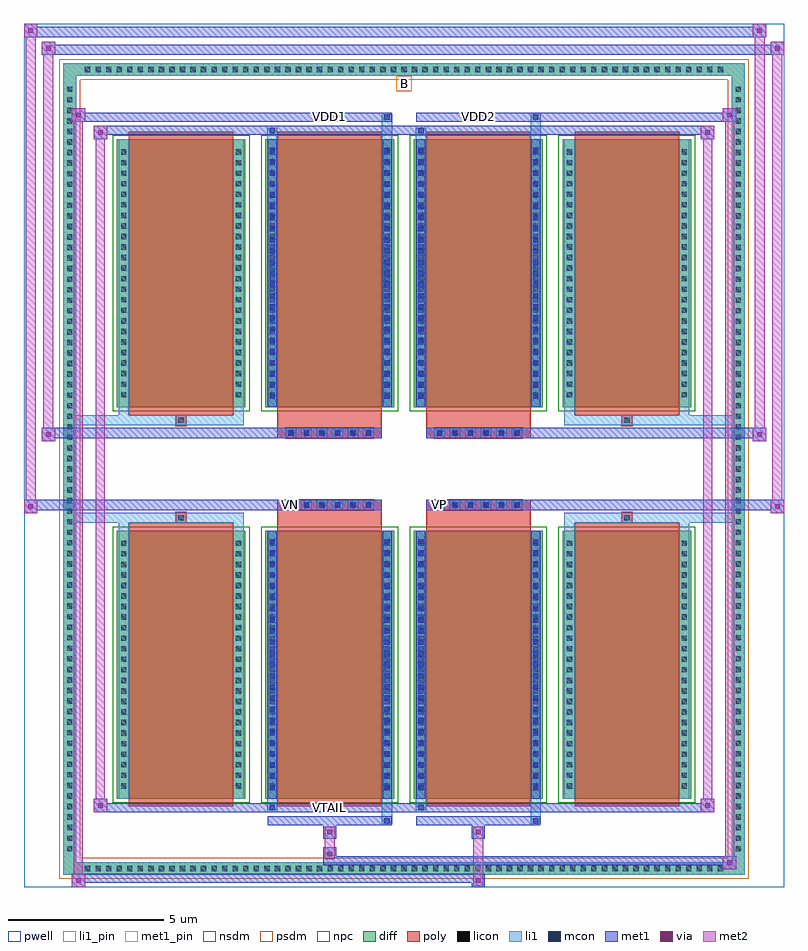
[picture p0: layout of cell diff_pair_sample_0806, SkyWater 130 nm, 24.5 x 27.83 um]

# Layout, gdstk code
import gdstk
lib = gdstk.Library(unit=1e-6, precision=5e-09)
def R(c, l, rs):  # rectangles x0, y0, x1, y1
    for r in rs: c.add(gdstk.rectangle(r[:2], r[2:], *l))
def A(c, l, x, y, w, h, nx, ny, dx, dy):  # array of equal rectangles
    R(c, l, [(x+i*dx, y+j*dy, x+i*dx+w, y+j*dy+h) for i in range(nx) for j in range(ny)])
def P(c, l, *ps):  # polygons
    for p in ps: c.add(gdstk.Polygon(p, *l))
pwell = (64, 44)
diff = (65, 20)
poly = (66, 20)
licon = (66, 44)
li1_pin = (67, 16)
li1 = (67, 20)
mcon = (67, 44)
met1_pin = (68, 16)
met1 = (68, 20)
via = (68, 44)
met2 = (69, 20)
nsdm = (93, 44)
psdm = (94, 20)
npc = (95, 20)

diff_pair_sample_0806 = lib.new_cell('diff_pair_sample_0806')
R(diff_pair_sample_0806, pwell, [(-12.25,-13.48,12.25,14.35), (-9.57,-11.67,-0.01,-0.795), (0.01,-11.67,9.57,-0.795), (-9.57,0.795,-0.01,11.67), (0.01,0.795,9.57,11.67)])
A(diff_pair_sample_0806, diff, -10.405, -13.08, 0.41, 0.41, 61, 2, 0.34, 25.75)
A(diff_pair_sample_0806, diff, -10.98, -12.445, 0.41, 0.41, 1, 73, 0, 0.34)
A(diff_pair_sample_0806, diff, 10.57, -12.445, 0.41, 0.41, 1, 73, 0, 0.34)
A(diff_pair_sample_0806, diff, -9.26, -10.625, 4.15, 8.64, 4, 2, 4.79, 12.61)
R(diff_pair_sample_0806, diff, [(-10.405,-13.08,10.405,-12.67), (-10.98,-12.445,-10.57,12.445), (10.57,-12.445,10.98,12.445), (-10.405,12.67,10.405,13.08)])
P(diff_pair_sample_0806, diff, [(10.98,13.08),(-10.98,13.08),(-10.98,-12.67),(-10.57,-12.67),(-10.57,12.67),(10.57,12.67),(10.57,-12.67),(-10.57,-12.67),(-10.98,-12.67),(-10.98,-13.08),(10.98,-13.08)])
A(diff_pair_sample_0806, poly, -8.87, -10.875, 3.37, 9.14, 4, 2, 4.79, 12.61)
A(diff_pair_sample_0806, poly, -3.81, -1.325, 0.33, 0.33, 6, 2, 0.5, 2.32)
A(diff_pair_sample_0806, poly, 0.98, -1.325, 0.33, 0.33, 6, 2, 0.5, 2.32)
R(diff_pair_sample_0806, poly, [(-7.35,-1.735,-7.02,-1.405), (-7.35,-1.735,-7.02,-1.405), (-4.08,-1.735,-0.71,-1.325), (0.71,-1.735,4.08,-1.325), (7.02,-1.735,7.35,-1.405), (7.02,-1.735,7.35,-1.405), (-4.08,-1.325,-0.71,-0.995), (0.71,-1.325,4.08,-0.995), (-4.08,0.995,-0.71,1.325), (0.71,0.995,4.08,1.325), (-4.08,1.325,-0.71,1.735), (0.71,1.325,4.08,1.735), (-7.35,1.405,-7.02,1.735), (-7.35,1.405,-7.02,1.735), (7.02,1.405,7.35,1.735), (7.02,1.405,7.35,1.735)])
A(diff_pair_sample_0806, licon, -10.285, -12.96, 0.17, 0.17, 61, 2, 0.34, 25.75)
A(diff_pair_sample_0806, licon, -10.86, -12.325, 0.17, 0.17, 1, 73, 0, 0.34)
A(diff_pair_sample_0806, licon, 10.69, -12.325, 0.17, 0.17, 1, 73, 0, 0.34)
A(diff_pair_sample_0806, licon, -9.12, -10.3, 0.17, 0.17, 1, 24, 0, 0.34)
A(diff_pair_sample_0806, licon, -5.42, -10.3, 0.17, 0.17, 1, 24, 0, 0.34)
A(diff_pair_sample_0806, licon, -4.33, -10.3, 0.17, 0.17, 1, 24, 0, 0.34)
A(diff_pair_sample_0806, licon, -0.63, -10.3, 0.17, 0.17, 1, 24, 0, 0.34)
A(diff_pair_sample_0806, licon, 0.46, -10.3, 0.17, 0.17, 1, 24, 0, 0.34)
A(diff_pair_sample_0806, licon, 4.16, -10.3, 0.17, 0.17, 1, 24, 0, 0.34)
A(diff_pair_sample_0806, licon, 5.25, -10.3, 0.17, 0.17, 1, 24, 0, 0.34)
A(diff_pair_sample_0806, licon, 8.95, -10.3, 0.17, 0.17, 1, 24, 0, 0.34)
A(diff_pair_sample_0806, licon, -3.73, -1.245, 0.17, 0.17, 6, 2, 0.5, 2.32)
A(diff_pair_sample_0806, licon, 1.06, -1.245, 0.17, 0.17, 6, 2, 0.5, 2.32)
A(diff_pair_sample_0806, licon, -9.12, 2.31, 0.17, 0.17, 1, 24, 0, 0.34)
A(diff_pair_sample_0806, licon, -5.42, 2.31, 0.17, 0.17, 1, 24, 0, 0.34)
A(diff_pair_sample_0806, licon, -4.33, 2.31, 0.17, 0.17, 1, 24, 0, 0.34)
A(diff_pair_sample_0806, licon, -0.63, 2.31, 0.17, 0.17, 1, 24, 0, 0.34)
A(diff_pair_sample_0806, licon, 0.46, 2.31, 0.17, 0.17, 1, 24, 0, 0.34)
A(diff_pair_sample_0806, licon, 4.16, 2.31, 0.17, 0.17, 1, 24, 0, 0.34)
A(diff_pair_sample_0806, licon, 5.25, 2.31, 0.17, 0.17, 1, 24, 0, 0.34)
A(diff_pair_sample_0806, licon, 8.95, 2.31, 0.17, 0.17, 1, 24, 0, 0.34)
R(diff_pair_sample_0806, licon, [(-7.27,-1.655,-7.1,-1.485), (7.1,-1.655,7.27,-1.485), (-7.27,1.485,-7.1,1.655), (7.1,1.485,7.27,1.655)])
R(diff_pair_sample_0806, li1_pin, [(-0.25,12.17,0.25,12.67)])
A(diff_pair_sample_0806, li1, -10.365, -13.04, 0.33, 0.33, 61, 2, 0.34, 25.75)
A(diff_pair_sample_0806, li1, -10.94, -12.405, 0.33, 0.33, 1, 73, 0, 0.34)
A(diff_pair_sample_0806, li1, 10.61, -12.405, 0.33, 0.33, 1, 73, 0, 0.34)
A(diff_pair_sample_0806, li1, -9.2, -10.38, 0.33, 0.33, 1, 24, 0, 0.34)
A(diff_pair_sample_0806, li1, -5.5, -10.38, 0.33, 0.33, 1, 24, 0, 0.34)
A(diff_pair_sample_0806, li1, -4.41, -10.38, 0.33, 0.33, 1, 24, 0, 0.34)
A(diff_pair_sample_0806, li1, -0.71, -10.38, 0.33, 0.33, 1, 24, 0, 0.34)
A(diff_pair_sample_0806, li1, 0.38, -10.38, 0.33, 0.33, 1, 24, 0, 0.34)
A(diff_pair_sample_0806, li1, 4.08, -10.38, 0.33, 0.33, 1, 24, 0, 0.34)
A(diff_pair_sample_0806, li1, 5.17, -10.38, 0.33, 0.33, 1, 24, 0, 0.34)
A(diff_pair_sample_0806, li1, 8.87, -10.38, 0.33, 0.33, 1, 24, 0, 0.34)
A(diff_pair_sample_0806, li1, -4.33, -10.35, 0.17, 0.17, 1, 23, 0, 0.36)
A(diff_pair_sample_0806, li1, -0.63, -10.35, 0.17, 0.17, 1, 23, 0, 0.36)
A(diff_pair_sample_0806, li1, 0.46, -10.35, 0.17, 0.17, 1, 23, 0, 0.36)
A(diff_pair_sample_0806, li1, 4.16, -10.35, 0.17, 0.17, 1, 23, 0, 0.36)
A(diff_pair_sample_0806, li1, -3.81, -1.325, 0.33, 0.33, 6, 2, 0.5, 2.32)
A(diff_pair_sample_0806, li1, 0.98, -1.325, 0.33, 0.33, 6, 2, 0.5, 2.32)
A(diff_pair_sample_0806, li1, -9.2, 2.23, 0.33, 0.33, 1, 24, 0, 0.34)
A(diff_pair_sample_0806, li1, -5.5, 2.23, 0.33, 0.33, 1, 24, 0, 0.34)
A(diff_pair_sample_0806, li1, -4.41, 2.23, 0.33, 0.33, 1, 24, 0, 0.34)
A(diff_pair_sample_0806, li1, -0.71, 2.23, 0.33, 0.33, 1, 24, 0, 0.34)
A(diff_pair_sample_0806, li1, 0.38, 2.23, 0.33, 0.33, 1, 24, 0, 0.34)
A(diff_pair_sample_0806, li1, 4.08, 2.23, 0.33, 0.33, 1, 24, 0, 0.34)
A(diff_pair_sample_0806, li1, 5.17, 2.23, 0.33, 0.33, 1, 24, 0, 0.34)
A(diff_pair_sample_0806, li1, 8.87, 2.23, 0.33, 0.33, 1, 24, 0, 0.34)
A(diff_pair_sample_0806, li1, -4.33, 2.26, 0.17, 0.17, 1, 23, 0, 0.36)
A(diff_pair_sample_0806, li1, -0.63, 2.26, 0.17, 0.17, 1, 23, 0, 0.36)
A(diff_pair_sample_0806, li1, 0.46, 2.26, 0.17, 0.17, 1, 23, 0, 0.36)
A(diff_pair_sample_0806, li1, 4.16, 2.26, 0.17, 0.17, 1, 23, 0, 0.36)
R(diff_pair_sample_0806, li1, [(-10.98,-13.08,-10.57,-12.67), (-10.98,-13.08,-10.57,-12.67), (-10.57,-13.08,10.57,-12.67), (10.57,-13.08,10.98,-12.67), (10.57,-13.08,10.98,-12.67), (-10.98,-12.67,-10.57,12.67), (10.57,-12.67,10.98,12.67), (-0.71,-11.43,-0.38,-10.625), (-0.63,-11.43,-0.46,-11.26), (4.08,-11.43,4.41,-10.625), (4.16,-11.43,4.33,-11.26), (-4.41,-11,-4.08,-10.625), (-4.33,-11,-4.16,-10.83), (0.38,-11,0.71,-10.625), (0.46,-11,0.63,-10.83), (-9.2,-10.625,-8.87,-1.985), (-5.5,-10.625,-5.17,-1.985), (-4.41,-10.625,-4.08,-1.985), (-0.71,-10.625,-0.38,-1.985), (0.38,-10.625,0.71,-1.985), (4.08,-10.625,4.41,-1.985), (5.17,-10.625,5.5,-1.985), (8.87,-10.625,9.2,-1.985), (-4.33,-10.35,-4.16,-2.26), (-0.63,-10.35,-0.46,-2.26), (0.46,-10.35,0.63,-2.26), (4.16,-10.35,4.33,-2.26), (-9.2,-1.985,-8.87,-1.405), (-5.5,-1.985,-5.17,-1.405), (5.17,-1.985,5.5,-1.405), (8.87,-1.985,9.2,-1.405), (-10.98,-1.735,-7.35,-1.405), (-9.2,-1.735,-7.35,-1.405), (-7.35,-1.735,-7.02,-1.405), (-7.02,-1.735,-5.17,-1.405), (5.17,-1.735,7.02,-1.405), (7.02,-1.735,7.35,-1.405), (7.02,-1.735,10.98,-1.405), (7.35,-1.735,9.2,-1.405), (-10.98,1.405,-7.35,1.735), (-9.2,1.405,-7.35,1.735), (-9.2,1.405,-8.87,1.985), (-7.35,1.405,-7.02,1.735), (-7.02,1.405,-5.17,1.735), (-5.5,1.405,-5.17,1.985), (5.17,1.405,7.02,1.735), (5.17,1.405,5.5,1.985), (7.02,1.405,7.35,1.735), (7.02,1.405,10.98,1.735), (7.35,1.405,9.2,1.735), (8.87,1.405,9.2,1.985), (-9.2,1.985,-8.87,10.625), (-5.5,1.985,-5.17,10.625), (-4.41,1.985,-4.08,10.625), (-0.71,1.985,-0.38,10.625), (0.38,1.985,0.71,10.625), (4.08,1.985,4.41,10.625), (5.17,1.985,5.5,10.625), (8.87,1.985,9.2,10.625), (-4.33,2.26,-4.16,10.35), (-0.63,2.26,-0.46,10.35), (0.46,2.26,0.63,10.35), (4.16,2.26,4.33,10.35), (-4.41,10.625,-4.08,11), (-0.71,10.625,-0.38,11.43), (0.38,10.625,0.71,11), (4.08,10.625,4.41,11.43), (-4.33,10.83,-4.16,11), (0.46,10.83,0.63,11), (-0.63,11.26,-0.46,11.43), (4.16,11.26,4.33,11.43), (-10.98,12.67,-10.57,13.08), (-10.98,12.67,-10.57,13.08), (-10.57,12.67,10.57,13.08), (10.57,12.67,10.98,13.08), (10.57,12.67,10.98,13.08)])
A(diff_pair_sample_0806, mcon, -4.33, -10.35, 0.17, 0.17, 1, 23, 0, 0.36)
A(diff_pair_sample_0806, mcon, -0.63, -10.35, 0.17, 0.17, 1, 23, 0, 0.36)
A(diff_pair_sample_0806, mcon, 0.46, -10.35, 0.17, 0.17, 1, 23, 0, 0.36)
A(diff_pair_sample_0806, mcon, 4.16, -10.35, 0.17, 0.17, 1, 23, 0, 0.36)
A(diff_pair_sample_0806, mcon, -3.73, -1.245, 0.17, 0.17, 6, 2, 0.5, 2.32)
A(diff_pair_sample_0806, mcon, 1.06, -1.245, 0.17, 0.17, 6, 2, 0.5, 2.32)
A(diff_pair_sample_0806, mcon, -4.33, 2.26, 0.17, 0.17, 1, 23, 0, 0.36)
A(diff_pair_sample_0806, mcon, -0.63, 2.26, 0.17, 0.17, 1, 23, 0, 0.36)
A(diff_pair_sample_0806, mcon, 0.46, 2.26, 0.17, 0.17, 1, 23, 0, 0.36)
A(diff_pair_sample_0806, mcon, 4.16, 2.26, 0.17, 0.17, 1, 23, 0, 0.36)
R(diff_pair_sample_0806, mcon, [(-0.63,-11.43,-0.46,-11.26), (4.16,-11.43,4.33,-11.26), (-4.33,-11,-4.16,-10.83), (0.46,-11,0.63,-10.83), (-4.33,10.83,-4.16,11), (0.46,10.83,0.63,11), (-0.63,11.26,-0.46,11.43), (4.16,11.26,4.33,11.43)])
R(diff_pair_sample_0806, met1_pin, [(-2.53,-11.04,-2.26,-10.77), (-3.78,-1.285,-3.51,-1.015), (1.01,-1.285,1.28,-1.015), (-2.53,11.22,-2.26,11.49), (2.26,11.22,2.53,11.49)])
A(diff_pair_sample_0806, met1, -4.39, -10.41, 0.29, 0.29, 1, 23, 0, 0.36)
A(diff_pair_sample_0806, met1, -0.69, -10.41, 0.29, 0.29, 1, 23, 0, 0.36)
A(diff_pair_sample_0806, met1, 0.4, -10.41, 0.29, 0.29, 1, 23, 0, 0.36)
A(diff_pair_sample_0806, met1, 4.1, -10.41, 0.29, 0.29, 1, 23, 0, 0.36)
A(diff_pair_sample_0806, met1, -3.79, -1.305, 0.29, 0.29, 6, 2, 0.5, 2.32)
A(diff_pair_sample_0806, met1, 1, -1.305, 0.29, 0.29, 6, 2, 0.5, 2.32)
A(diff_pair_sample_0806, met1, -4.39, 2.2, 0.29, 0.29, 1, 23, 0, 0.36)
A(diff_pair_sample_0806, met1, -0.69, 2.2, 0.29, 0.29, 1, 23, 0, 0.36)
A(diff_pair_sample_0806, met1, 0.4, 2.2, 0.29, 0.29, 1, 23, 0, 0.36)
A(diff_pair_sample_0806, met1, 4.1, 2.2, 0.29, 0.29, 1, 23, 0, 0.36)
R(diff_pair_sample_0806, met1, [(-10.71,-13.48,-10.28,-13.05), (2.18,-13.48,2.61,-13.05), (-10.71,-13.34,2.61,-13.05), (10.28,-12.91,10.71,-12.48), (-2.61,-12.77,10.71,-12.48), (-2.61,-12.63,-2.18,-12.2), (-2.61,-11.92,-2.18,-11.49), (2.18,-11.92,2.61,-11.49), (-4.39,-11.49,-0.4,-11.2), (-0.69,-11.49,-0.4,-11.2), (0.4,-11.49,4.39,-11.2), (4.1,-11.49,4.39,-11.2), (-10,-11.06,-9.57,-10.63), (-10,-11.06,-4.39,-10.77), (-4.39,-11.06,-4.1,-10.77), (-4.39,-11.06,-0.4,-10.77), (-0.4,-11.06,0.4,-10.77), (0.4,-11.06,0.69,-10.77), (0.4,-11.06,4.39,-10.77), (4.39,-11.06,10,-10.77), (9.57,-11.06,10,-10.63), (-4.39,-10.625,-4.1,-1.985), (-0.69,-10.625,-0.4,-1.985), (0.4,-10.625,0.69,-1.985), (4.1,-10.625,4.39,-1.985), (-12.25,-1.425,-11.82,-0.995), (11.82,-1.425,12.25,-0.995), (-12.25,-1.325,-0.71,-0.995), (-4.08,-1.325,-0.71,-0.995), (0.71,-1.325,4.08,-0.995), (0.71,-1.325,12.25,-0.995), (-11.68,0.895,-11.25,1.325), (11.25,0.895,11.68,1.325), (-11.68,0.995,-4.08,1.325), (-4.08,0.995,-0.71,1.325), (0.71,0.995,4.08,1.325), (4.08,0.995,11.68,1.325), (-4.39,1.985,-4.1,10.625), (-0.69,1.985,-0.4,10.625), (0.4,1.985,0.69,10.625), (4.1,1.985,4.39,10.625), (-10,10.63,-9.57,11.06), (9.57,10.63,10,11.06), (-10,10.77,-4.39,11.06), (-4.39,10.77,-4.1,11.06), (-4.39,10.77,-0.4,11.06), (-0.4,10.77,0.4,11.06), (0.4,10.77,0.69,11.06), (0.4,10.77,4.39,11.06), (4.39,10.77,10,11.06), (-10.71,11.2,-10.28,11.63), (-10.71,11.2,-4.39,11.49), (-4.39,11.2,-0.4,11.49), (-0.69,11.2,-0.4,11.49), (0.4,11.2,4.39,11.49), (4.1,11.2,4.39,11.49), (4.39,11.2,10.71,11.49), (10.28,11.2,10.71,11.63), (-11.68,13.35,-11.25,13.78), (-11.68,13.35,-9.57,13.68), (-9.57,13.35,9.57,13.68), (9.57,13.35,12.25,13.68), (11.82,13.35,12.25,13.78), (-12.25,13.92,-11.82,14.35), (-12.25,13.92,-9.57,14.25), (-9.57,13.92,9.57,14.25), (9.57,13.92,11.68,14.25), (11.25,13.92,11.68,14.35)])
R(diff_pair_sample_0806, via, [(-10.57,-13.34,-10.42,-13.19), (2.32,-13.34,2.47,-13.19), (10.42,-12.77,10.57,-12.62), (-2.47,-12.49,-2.32,-12.34), (-2.47,-11.78,-2.32,-11.63), (2.32,-11.78,2.47,-11.63), (-9.86,-10.92,-9.71,-10.77), (9.71,-10.92,9.86,-10.77), (-12.11,-1.285,-11.96,-1.135), (11.96,-1.285,12.11,-1.135), (-11.54,1.035,-11.39,1.185), (11.39,1.035,11.54,1.185), (-9.86,10.77,-9.71,10.92), (9.71,10.77,9.86,10.92), (-10.57,11.34,-10.42,11.49), (10.42,11.34,10.57,11.49), (-11.54,13.49,-11.39,13.64), (11.96,13.49,12.11,13.64), (-12.11,14.06,-11.96,14.21), (11.39,14.06,11.54,14.21)])
R(diff_pair_sample_0806, met2, [(-10.71,-13.48,-10.28,-13.05), (-10.64,-13.48,-10.35,11.63), (-10.35,-13.48,-10.28,-13.05), (-10.66,-13.43,-10.33,-13.1), (2.23,-13.43,2.56,-13.1), (2.23,-13.1,2.56,-11.87), (10.28,-12.91,10.71,-12.48), (10.35,-12.91,10.64,11.63), (10.64,-12.91,10.71,-12.48), (10.33,-12.86,10.66,-12.53), (-2.56,-12.58,-2.23,-12.25), (-2.56,-12.25,-2.23,-11.87), (-2.56,-11.87,-2.23,-11.54), (2.23,-11.87,2.56,-11.54), (-10,-11.06,-9.57,-10.63), (-9.93,-11.06,-9.64,11.06), (-9.64,-11.06,-9.57,-10.63), (9.57,-11.06,10,-10.63), (9.64,-11.06,9.93,11.06), (9.93,-11.06,10,-10.63), (-9.95,-11.01,-9.62,-10.68), (9.62,-11.01,9.95,-10.68), (-12.25,-1.425,-11.82,-0.995), (-12.2,-1.425,-11.87,14.35), (-11.87,-1.425,-11.82,-0.995), (11.82,-1.425,12.25,-0.995), (11.87,-1.425,12.2,13.78), (12.2,-1.425,12.25,-0.995), (-12.2,-1.375,-11.87,-1.045), (11.87,-1.375,12.2,-1.045), (-11.68,0.895,-11.25,1.325), (-11.63,0.895,-11.3,13.78), (-11.3,0.895,-11.25,1.325), (11.25,0.895,11.68,1.325), (11.3,0.895,11.63,14.35), (11.63,0.895,11.68,1.325), (-11.63,0.945,-11.3,1.275), (11.3,0.945,11.63,1.275), (-10,10.63,-9.57,11.06), (-9.64,10.63,-9.57,11.06), (9.57,10.63,10,11.06), (9.93,10.63,10,11.06), (-9.95,10.68,-9.62,11.01), (9.62,10.68,9.95,11.01), (-10.71,11.2,-10.28,11.63), (-10.35,11.2,-10.28,11.63), (10.28,11.2,10.71,11.63), (10.64,11.2,10.71,11.63), (-10.66,11.25,-10.33,11.58), (10.33,11.25,10.66,11.58), (-11.68,13.35,-11.25,13.78), (-11.3,13.35,-11.25,13.78), (11.82,13.35,12.25,13.78), (12.2,13.35,12.25,13.78), (-11.63,13.4,-11.3,13.73), (11.87,13.4,12.2,13.73), (-12.25,13.92,-11.82,14.35), (-11.87,13.92,-11.82,14.35), (11.25,13.92,11.68,14.35), (11.63,13.92,11.68,14.35), (-12.2,13.97,-11.87,14.3), (11.3,13.97,11.63,14.3)])
A(diff_pair_sample_0806, nsdm, -9.39, -10.755, 4.41, 8.9, 4, 2, 4.79, 12.61)
P(diff_pair_sample_0806, psdm, [(11.11,13.21),(-11.11,13.21),(-11.11,-12.54),(-10.44,-12.54),(-10.44,12.54),(10.44,12.54),(10.44,-12.54),(-10.44,-12.54),(-11.11,-12.54),(-11.11,-13.21),(11.11,-13.21)])
A(diff_pair_sample_0806, npc, -3.83, -1.345, 0.37, 0.37, 6, 2, 0.5, 2.32)
A(diff_pair_sample_0806, npc, 0.96, -1.345, 0.37, 0.37, 6, 2, 0.5, 2.32)
R(diff_pair_sample_0806, npc, [(-7.37,-1.755,-7,-1.385), (7,-1.755,7.37,-1.385), (-3.83,-1.345,-2.96,-0.975), (-3.83,-1.345,-2.96,-0.975), (-3.33,-1.345,-2.46,-0.975), (-3.33,-1.345,-2.46,-0.975), (-2.83,-1.345,-1.96,-0.975), (-2.83,-1.345,-1.96,-0.975), (-2.33,-1.345,-1.46,-0.975), (-2.33,-1.345,-1.46,-0.975), (-1.83,-1.345,-0.96,-0.975), (-1.83,-1.345,-0.96,-0.975), (0.96,-1.345,1.83,-0.975), (0.96,-1.345,1.83,-0.975), (1.46,-1.345,2.33,-0.975), (1.46,-1.345,2.33,-0.975), (1.96,-1.345,2.83,-0.975), (1.96,-1.345,2.83,-0.975), (2.46,-1.345,3.33,-0.975), (2.46,-1.345,3.33,-0.975), (2.96,-1.345,3.83,-0.975), (2.96,-1.345,3.83,-0.975), (-3.83,0.975,-2.96,1.345), (-3.83,0.975,-2.96,1.345), (-3.33,0.975,-2.46,1.345), (-3.33,0.975,-2.46,1.345), (-2.83,0.975,-1.96,1.345), (-2.83,0.975,-1.96,1.345), (-2.33,0.975,-1.46,1.345), (-2.33,0.975,-1.46,1.345), (-1.83,0.975,-0.96,1.345), (-1.83,0.975,-0.96,1.345), (0.96,0.975,1.83,1.345), (0.96,0.975,1.83,1.345), (1.46,0.975,2.33,1.345), (1.46,0.975,2.33,1.345), (1.96,0.975,2.83,1.345), (1.96,0.975,2.83,1.345), (2.46,0.975,3.33,1.345), (2.46,0.975,3.33,1.345), (2.96,0.975,3.83,1.345), (2.96,0.975,3.83,1.345), (-7.37,1.385,-7,1.755), (7,1.385,7.37,1.755)])
diff_pair_sample_0806.add(gdstk.Label('VTAIL', (-2.395,-10.905), layer=68, texttype=5))
diff_pair_sample_0806.add(gdstk.Label('VN', (-3.645,-1.15), layer=68, texttype=5))
diff_pair_sample_0806.add(gdstk.Label('VP', (1.145,-1.15), layer=68, texttype=5))
diff_pair_sample_0806.add(gdstk.Label('B', (0,12.42), layer=67, texttype=5))
diff_pair_sample_0806.add(gdstk.Label('VDD2', (2.395,11.355), layer=68, texttype=5))
diff_pair_sample_0806.add(gdstk.Label('VDD1', (-2.395,11.355), layer=68, texttype=5))

lib.write_gds('diff_pair_sample_0806.gds')
